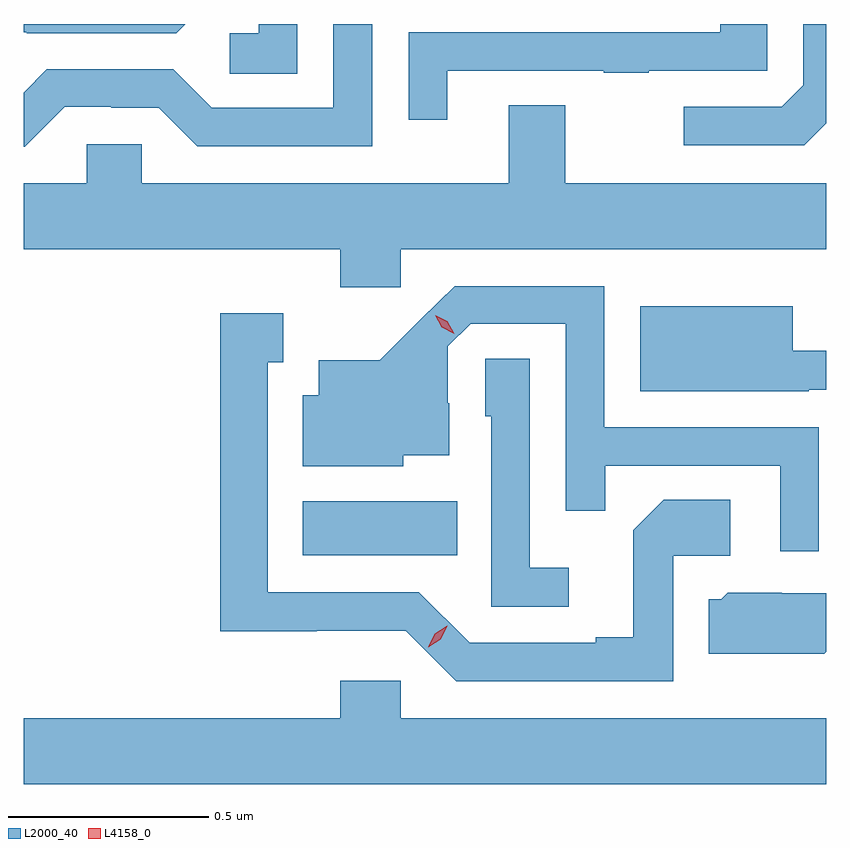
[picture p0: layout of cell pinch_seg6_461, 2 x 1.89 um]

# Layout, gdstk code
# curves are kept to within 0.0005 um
import gdstk
lib = gdstk.Library(unit=1e-6, precision=1e-09)
def R(c, l, rs):  # rectangles x0, y0, x1, y1
    for r in rs: c.add(gdstk.rectangle(r[:2], r[2:], *l))
def P(c, l, *ps):  # polygons
    for p in ps: c.add(gdstk.Polygon(p, *l))
L2000_40 = (2000, 40)
L4158_0 = (4158, 0)

pinch_seg6_461 = lib.new_cell('pinch_seg6_461')
R(pinch_seg6_461, L2000_40, [(720.122,926.594,720.506,926.728)])
P(pinch_seg6_461, L2000_40, [(720.481,927.801),(720.871,927.801),(720.871,927.796),(720.983,927.796),(720.983,927.801),(721.278,927.801),(721.278,927.917),(721.162,927.917),(721.162,927.897),(720.487,927.897),(720.487,927.896),(720.385,927.896),(720.385,927.678),(720.481,927.678)],
  [(721.426,927.67),(721.426,927.917),(721.368,927.917),(721.368,927.765),(721.314,927.711),(721.071,927.711),(721.071,927.615),(721.371,927.615)],
  [(719.829,927.917),(719.426,927.917),(719.426,927.897),(719.434,927.897),(719.434,927.894),(719.806,927.894)],
  [(720.108,927.917),(720.012,927.917),(720.012,927.894),(719.94,927.894),(719.94,927.793),(720.108,927.793)],
  [(719.529,927.711),(719.645,927.711),(719.645,927.708),(719.763,927.708),(719.859,927.612),(720.294,927.612),(720.294,927.917),(720.198,927.917),(720.198,927.708),(719.895,927.708),(719.799,927.804),(719.484,927.804),(719.426,927.746),(719.426,927.611),(719.429,927.611)],
  [(720.366,927.356),(721.426,927.356),(721.426,927.52),(720.775,927.52),(720.775,927.715),(720.635,927.715),(720.635,927.52),(719.721,927.52),(719.721,927.618),(719.583,927.618),(719.583,927.52),(719.426,927.52),(719.426,927.356),(720.215,927.356),(720.215,927.261),(720.366,927.261)],
  [(721.407,926.913),(720.873,926.913),(720.873,927.264),(720.5,927.264),(720.313,927.079),(720.161,927.079),(720.161,926.992),(720.122,926.992),(720.122,926.816),(720.372,926.816),(720.372,926.843),(720.487,926.843),(720.487,926.972),(720.483,926.972),(720.483,927.114),(720.54,927.171),(720.777,927.171),(720.777,926.704),(720.875,926.704),(720.875,926.817),(721.311,926.817),(721.311,926.604),(721.407,926.604)],
  [(721.382,927.006),(721.426,927.006),(721.426,927.103),(721.342,927.103),(721.342,927.214),(720.962,927.214),(720.962,927.002),(721.382,927.002)],
  [(721.044,926.592),(721.186,926.592),(721.186,926.732),(721.021,926.732),(720.945,926.656),(720.945,926.389),(720.851,926.389),(720.851,926.376),(720.537,926.376),(720.411,926.502),(720.034,926.502),(720.034,927.075),(720.073,927.075),(720.073,927.196),(719.916,927.196),(719.916,926.405),(720.156,926.405),(720.156,926.406),(720.378,926.406),(720.504,926.28),(721.044,926.28)],
  [(720.784,926.563),(720.687,926.563),(720.687,927.083),(720.576,927.083),(720.576,926.94),(720.591,926.94),(720.591,926.466),(720.784,926.466)],
  [(721.426,926.353),(721.426,926.499),(721.314,926.499),(721.314,926.5),(721.18,926.5),(721.164,926.484),(721.133,926.484),(721.133,926.348),(721.421,926.348)],
  [(721.426,926.188),(720.366,926.188),(720.366,926.281),(720.215,926.281),(720.215,926.188),(719.426,926.188),(719.426,926.024),(721.426,926.024)])
P(pinch_seg6_461, L4158_0, [(720.499,927.146),(720.468,927.162),(720.451,927.192),(720.451,927.192),(720.451,927.192),(720.482,927.176),(720.499,927.146),(720.499,927.146)],
  [(720.434,926.365),(720.434,926.365),(720.45,926.398),(720.482,926.418),(720.482,926.418),(720.482,926.417),(720.465,926.384),(720.434,926.365)])

lib.write_gds('pinch_seg6_461.gds')
